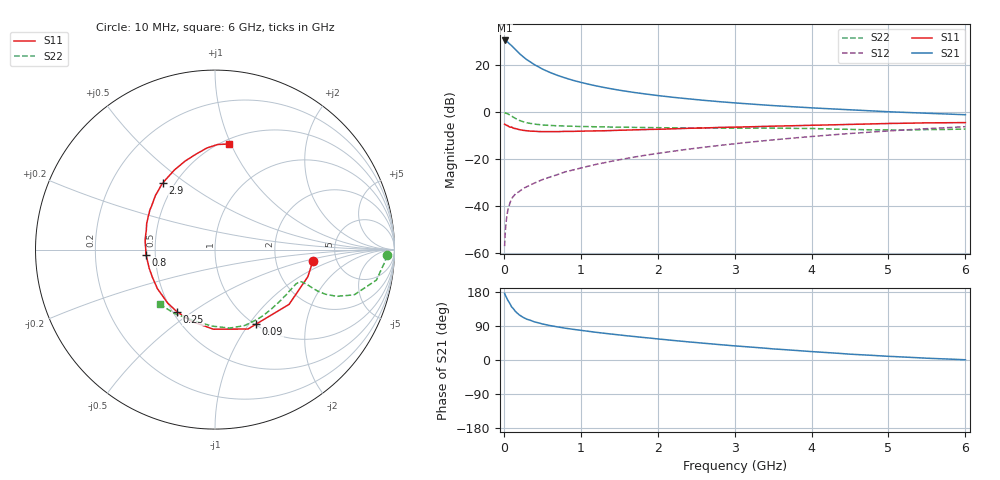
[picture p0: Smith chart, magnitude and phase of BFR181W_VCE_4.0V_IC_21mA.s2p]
! Infineon Technologies  Discrete & RF Semiconductors
! BFR181W
! VCE =  4.0 V,  IC =  21 mA
! Common Emitter S-Parameters:  Jan 2017
# GHz  S  MA  R  50
!  f  S11  S21  S12  S22
! GHz  MAG  ANG  MAG  ANG  MAG  ANG  MAG  ANG
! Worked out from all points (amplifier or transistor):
!   77 points, 10 MHz to 6 GHz, reference 50 ohm
!   highest |S21| = 30.4 dB at 10 MHz (marker M1)
!   |S21| within 3 dB of that: start of sweep to 124.7 MHz
!   unconditionally stable (mu >= 1): 502.6 MHz to 2.48 GHz
!   at 130 MHz: K = 0.46, MSG = 31.4 dB, |S12| = -35.7 dB
!   at 2.2 GHz: K = 1.04, MAG = 10.2 dB, |S12| = -16.7 dB
!   at 6 GHz: K = 0.85, MSG = 2.5 dB, |S12| = -6.3 dB
!   S11 on the Smith chart (normalised r, x): 10 MHz: 3.31, -0.61; 90 MHz: 1.01, -1.08; 250 MHz: 0.53, -0.44; 800 MHz: 0.44, -0.03; 2.9 GHz: 0.43, +0.41; 6 GHz: 0.54, +0.98
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0.01  0.5491 -6.7  33.03 175.9  0.0014 89.1  0.9595 -1.9
0.02  0.5388 -16.3  32.67 170.7  0.003 88.7  0.9491 -4.1
0.05  0.5132 -36.5  30.54 158.2  0.0078 76.9  0.9153 -10.7
0.09  0.4741 -61.1  26.48 144.5  0.0129 68.5  0.8353 -16.3
0.1  0.4789 -67.5  25.74 140.5  0.0142 67.4  0.8167 -17.9
0.15  0.4436 -91.2  21.24 128.2  0.018 63.1  0.7273 -21.0
0.2  0.4205 -108.0  17.6 119.1  0.0203 61.5  0.663 -22.0
0.25  0.4062 -121.3  14.91 112.6  0.0235 61.4  0.6188 -22.0
0.3  0.3978 -131.5  12.85 107.6  0.0258 60.7  0.5871 -21.6
0.4  0.3877 -145.9  10.04 100.4  0.0308 64.7  0.5499 -20.8
0.5  0.3813 -156.2  8.167 95.2  0.0363 66.9  0.5288 -20.5
0.6  0.3811 -164.1  6.9 90.9  0.0413 68.3  0.5156 -20.4
0.7  0.3815 -170.3  5.961 87.3  0.0467 71.2  0.5067 -20.6
0.8  0.3855 -175.9  5.26 83.9  0.0533 72.2  0.5001 -21.2
1.1  0.3932 171.5  3.885 75.7  0.0703 74.2  0.4871 -24.0
1.5  0.4077 159.0  2.899 66.2  0.096 75.5  0.4739 -29.4
2.1  0.4318 144.0  2.136 53.7  0.1385 74.9  0.4599 -40.1
2.9  0.4714 127.8  1.603 39.0  0.2019 71.0  0.4542 -56.6
3.1  0.479 124.1  1.514 35.8  0.219 69.5  0.453 -60.8
4.1  0.5241 107.1  1.197 20.9  0.3093 61.2  0.4395 -81.9
5.1  0.5708 93.4  0.994 8.8  0.4028 50.9  0.4123 -109.7
6  0.593 82.7  0.871 0.6  0.4848 40.6  0.4337 -135.3
